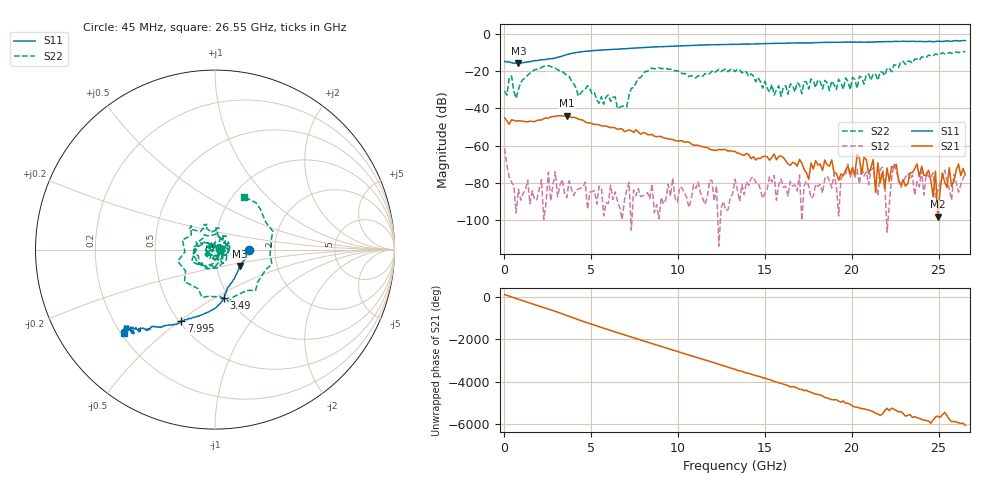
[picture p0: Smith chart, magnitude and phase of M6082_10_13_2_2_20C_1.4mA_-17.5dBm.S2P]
!  2-Port S-parameters saved by WinCal
! VAR MeasName=S-Parameters (CALIBRATED_DATA) read from VNA (C)
! VAR MeasDate=10/16/2015 2:26:51 PM
! VAR NAME=M6082_10_13_2_2_20C_1.4mA_-17.5dBm
! VAR FILENAME=M6082_10_13_2_2_20C_1.4mA_-17.5dBm.S2P
! VAR DATE=10/16/2015 2:26:51 PM
! VAR PHYS_PORTS=2,1
! VAR ObjTypeName=DATASET
! VAR IndexType=Frequency
# Hz S DB R 50
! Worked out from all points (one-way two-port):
!   201 points, 45 MHz to 26.55 GHz, reference 50 ohm
!   highest |S21| = -43.83 dB at 3.623 GHz (marker M1); lowest = -98.5 dB at 24.95 GHz (marker M2)
!   lowest |S11| = -15.6 dB at 840 MHz (marker M3), VSWR 1.40, Z = 64.9 - j12.3 ohm
!   |S11| at or under -10 dB: start of sweep to 4.025 GHz
!   |S22| runs from -40.1 to -9.2 dB; largest |S21 - S12| = 0.0064
!   S11 on the Smith chart (normalised r, x): 45 MHz: 1.46, -0.01; 3.49 GHz: 0.95, -0.55; 7.995 GHz: 0.51, -0.51; 26.55 GHz: 0.21, -0.38
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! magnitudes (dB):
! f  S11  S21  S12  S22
! 45 MHz  -14.5  -45.0  -61.7  -30.6
! 310 MHz  -14.8  -48.5  -77.1  -23.4
! 840 MHz  -15.6  -46.7  -83.7  -29.7
! 3.49 GHz  -11.2  -44.1  -85.7  -21.1
! 3.623 GHz  -10.9  -43.8  -88.2  -21.9
! 4.55 GHz  -9.3  -46.3  -82.6  -30.4
! 7.067 GHz  -7.7  -52.1  -84.2  -39.1
! 7.995 GHz  -7.1  -53.1  -87.2  -21.8
! 8.922 GHz  -6.7  -55.0  -99.7  -18.0
! 13.29 GHz  -5.3  -63.2  -78.2  -20.0
! 15.95 GHz  -4.8  -65.7  -78.1  -33.4
! 17.8 GHz  -4.5  -72.7  -87.5  -25.1
! 20.18 GHz  -4.2  -76.1  -77.2  -24.3
! 20.32 GHz  -4.2  -64.9  -73.0  -29.2
! 20.58 GHz  -4.1  -75.5  -71.8  -23.2
! 21.25 GHz  -4.1  -67.5  -72.1  -21.3
! 22.17 GHz  -3.8  -79.4  -91.4  -18.4
! 22.44 GHz  -3.8  -71.7  -70.3  -16.5
! 23.23 GHz  -3.8  -80.5  -75.1  -14.4
! 23.76 GHz  -3.8  -70.0  -79.5  -13.3
! 24.95 GHz  -3.6  -98.5  -84.6  -11.0
! 26.55 GHz  -3.3  -75.8  -75.0  -9.5
